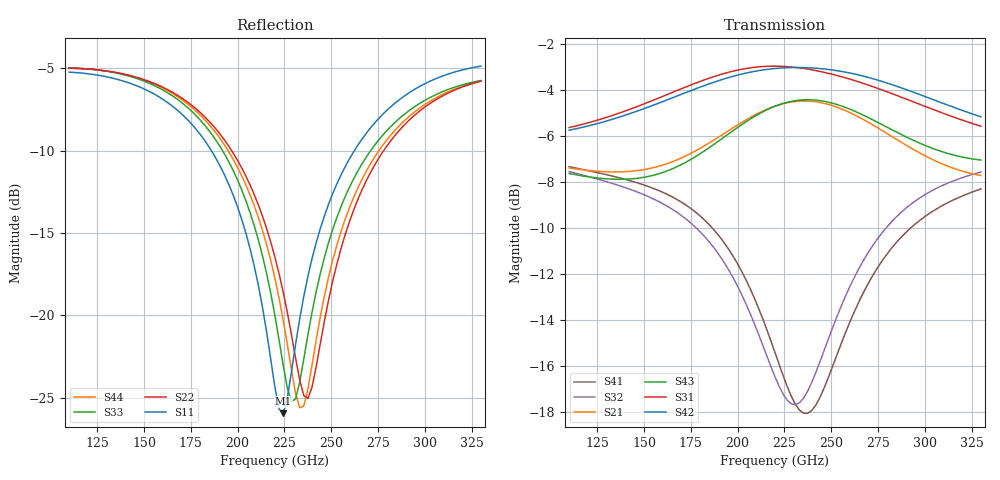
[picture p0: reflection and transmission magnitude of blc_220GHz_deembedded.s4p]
! Created with skrf 2.0.1 (http://scikit-rf.org).
# GHz S DB R 50.0
!freq dBS11 angS11 dBS12 angS12 dBS13 angS13
! dBS14 angS14
! dBS21 angS21 dBS22 angS22 dBS23 angS23
! dBS24 angS24
! dBS31 angS31 dBS32 angS32 dBS33 angS33
! dBS34 angS34
! dBS41 angS41 dBS42 angS42 dBS43 angS43
! dBS44 angS44
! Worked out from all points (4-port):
!   101 points, 110 GHz to 330 GHz, reference 50 ohm
!   strongest paths, dB at 110 GHz, 165 GHz, 220 GHz, 275 GHz, 330 GHz:
!     S42: -5.8, -4.4, -3.1, -3.6, -5.2
!     S31: -5.7, -4.1, -3.0, -4.0, -5.6
!     S43: -7.6, -7.4, -4.7, -5.4, -7.1
!     S21: -7.4, -7.1, -4.7, -5.7, -7.7
!     S32: -7.6, -9.2, -16.5, -10.5, -7.6
!     S41: -7.4, -8.7, -15.4, -11.7, -8.3
!   lowest |S11| = -25.9 dB at 224.4 GHz (marker M1), VSWR 1.11, Z = 55.3 + j0.53 ohm
!   |S11| at or under -10 dB: 186 GHz to 262.4 GHz (76.34 GHz wide, 34.1 % of centre)
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110  -5.23 166.8  -7.41 -46.4  -5.65 -75.6  -7.35 -58.3
     -7.41 -46.4  -4.99 157.6  -7.56 -62.2  -5.77 -79.7
     -5.65 -75.6  -7.56 -62.2  -4.97 156.7  -7.65 -49.8
     -7.35 -58.3  -5.77 -79.7  -7.65 -49.8  -4.98 157.3
184.8  -9.78 124.2  -6.32 -64.6  -3.51 -134.7  -9.87 -102.6
       -6.32 -64.6  -8.21 112.2  -10.61 -106.5  -3.75 -139.7
       -3.51 -134.7  -10.61 -106.5  -8.78 107.2  -6.53 -67.2
       -9.87 -102.6  -3.75 -139.7  -6.53 -67.2  -8.41 110.5
224.4  -25.95 5.4  -4.61 -88.1  -2.99 -175.0  -16.44 -111.9
       -4.61 -88.1  -18.60 61.1  -17.24 -104.3  -3.06 -179.8
       -2.99 -175.0  -17.24 -104.3  -23.04 30.5  -4.60 -91.6
       -16.44 -111.9  -3.06 -179.8  -4.60 -91.6  -20.30 53.3
231  -21.76 -45.0  -4.52 -93.3  -3.04 178.2  -17.69 -102.6
     -4.52 -93.3  -22.59 35.5  -17.70 -92.2  -3.04 173.3
     -3.04 178.2  -17.70 -92.2  -25.07 -27.6  -4.48 -97.0
     -17.69 -102.6  -3.04 173.3  -4.48 -97.0  -24.74 16.7
237.6  -17.62 -65.3  -4.50 -98.6  -3.11 171.5  -18.07 -89.5
       -4.50 -98.6  -25.04 -17.0  -17.08 -80.4  -3.05 166.5
       -3.11 171.5  -17.08 -80.4  -21.17 -71.7  -4.44 -102.4
       -18.07 -89.5  -3.05 166.5  -4.44 -102.4  -24.46 -44.8
259.6  -10.53 -93.2  -4.98 -115.1  -3.54 149.9  -14.18 -67.5
       -4.98 -115.1  -14.37 -101.8  -12.63 -71.1  -3.27 143.8
       -3.54 149.9  -12.63 -71.1  -12.26 -114.6  -4.84 -119.3
       -14.18 -67.5  -3.27 143.8  -4.84 -119.3  -13.51 -108.2
330  -4.86 -135.5  -7.74 -142.0  -5.59 91.8  -8.32 -104.3
     -7.74 -142.0  -5.77 -160.4  -7.58 -116.0  -5.18 80.3
     -5.59 91.8  -7.58 -116.0  -5.73 -165.3  -7.06 -149.7
     -8.32 -104.3  -5.18 80.3  -7.06 -149.7  -5.78 -163.1
